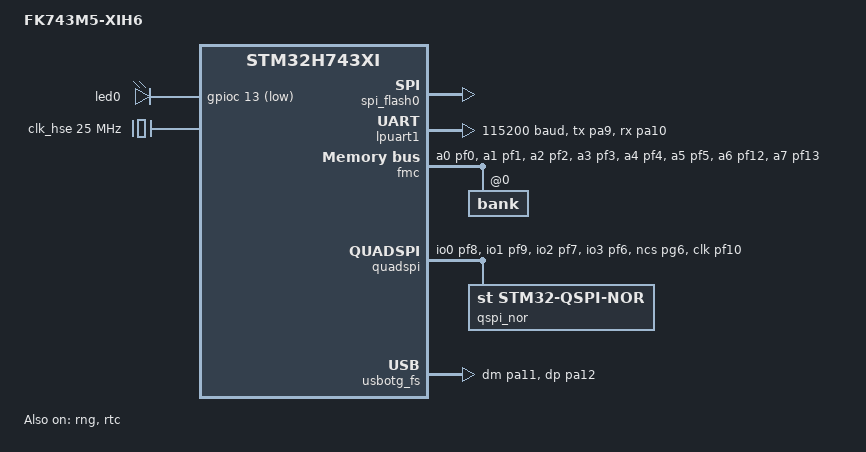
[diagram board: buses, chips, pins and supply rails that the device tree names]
/*
 * Copyright (c) 2025 Caspar Friedrich <c.s.w.friedrich@gmail.com>
 *
 * SPDX-License-Identifier: Apache-2.0
 */

/dts-v1/;

#include <st/h7/stm32h743Xi.dtsi>
#include <st/h7/stm32h743xihx-pinctrl.dtsi>

/ {
	model = "FK743M5-XIH6";
	compatible = "others,fk743m5-xih6";

	chosen {
		zephyr,code-partition = &slot0_partition;
		zephyr,console = &lpuart1;
		zephyr,dtcm = &dtcm;
		zephyr,flash = &flash0;
		zephyr,itcm = &itcm;
		zephyr,shell-uart = &lpuart1;
		zephyr,sram = &sram0;
		zephyr,uart-mcumgr = &lpuart1;
	};

	gpio_leds {
		compatible = "gpio-leds";

		led0: led {
			gpios = <&gpioc 13 GPIO_ACTIVE_LOW>;
		};
	};

	sdram1: sdram@c0000000 {
		compatible = "zephyr,memory-region", "mmio-sram";
		device_type = "memory";
		reg = <0xc0000000 DT_SIZE_M(32)>;
		zephyr,memory-region = "SDRAM1";
	};

	spi_flash0: memory@90000000 {
		compatible = "zephyr,memory-region";
		reg = <0x90000000 DT_SIZE_M(8)>;
		zephyr,memory-region = "EXTMEM";
	};

	aliases {
		led0 = &led0;
		spi-flash0 = &spi_flash0;
	};
};

&clk_hse {
	status = "okay";
	clock-frequency = <DT_FREQ_M(25)>;
};

&clk_lse {
	status = "okay";
};

&pll {
	status = "okay";
	clocks = <&clk_hse>;
	div-m = <5>;
	mul-n = <192>;
	div-p = <2>; /* 480 MHz */
	div-q = <8>; /* 120 MHz -> RNG, SDMMC1 */
	div-r = <2>; /* 480 MHz */
};

&pll3 {
	status = "okay";
	clocks = <&clk_hse>;
	div-m = <5>;
	mul-n = <192>;
	div-p = <2>;  /* 480 MHz */
	div-q = <20>; /*  48 MHz -> USB */
	div-r = <8>;  /* 120 MHz -> LTDC */
};

&rcc {
	status = "okay";
	clocks = <&pll>;
	clock-frequency = <DT_FREQ_M(480)>;
	d1cpre  = <1>; /* 480 MHz */
	hpre    = <2>; /* 240 MHz */
	d1ppre  = <2>; /* 120 MHz */
	d2ppre1 = <2>; /* 120 MHz */
	d2ppre2 = <2>; /* 120 MHz */
	d3ppre  = <2>; /* 120 MHz */
};

&rng {
	status = "okay";
	clocks = <&rcc STM32_CLOCK(AHB2, 6U)>,
	         <&rcc STM32_SRC_PLL1_Q RNG_SEL(1)>;
};

&rtc {
	status = "okay";
	clocks = <&rcc STM32_CLOCK(APB4, 16U)>,
	         <&rcc STM32_SRC_LSE RTC_SEL(1)>;
};

&lpuart1 {
	status = "okay";
	pinctrl-0 = <&lpuart1_tx_pa9
	             &lpuart1_rx_pa10>;
	pinctrl-names = "default";
	current-speed = <115200>;
};

/*
 * Transmit Only Master
 */
&spi5 {
	status = "disabled";
	pinctrl-0 = <&spi5_sck_pk0
	             &spi5_mosi_pj10
	             &spi5_nss_ph5>;
	pinctrl-names = "default";

	/*
	 * LCD1
	 * cmd-data-gpios = <&gpioj 11 GPIO_ACTIVE_LOW>;
	 */
};

&fmc {
	status = "okay";
	pinctrl-0 = <&fmc_a0_pf0
	             &fmc_a1_pf1
	             &fmc_a2_pf2
	             &fmc_a3_pf3
	             &fmc_a4_pf4
	             &fmc_a5_pf5
	             &fmc_a6_pf12
	             &fmc_a7_pf13
	             &fmc_a8_pf14
	             &fmc_a9_pf15
	             &fmc_a10_pg0
	             &fmc_a11_pg1
	             &fmc_a12_pg2
	             &fmc_a14_pg4 /* BA0 */
	             &fmc_a15_pg5 /* BA1 */
	             &fmc_d0_pd14
	             &fmc_d1_pd15
	             &fmc_d2_pd0
	             &fmc_d3_pd1
	             &fmc_d4_pe7
	             &fmc_d5_pe8
	             &fmc_d6_pe9
	             &fmc_d7_pe10
	             &fmc_d8_pe11
	             &fmc_d9_pe12
	             &fmc_d10_pe13
	             &fmc_d11_pe14
	             &fmc_d12_pe15
	             &fmc_d13_pd8
	             &fmc_d14_pd9
	             &fmc_d15_pd10
	             &fmc_nbl0_pe0
	             &fmc_nbl1_pe1
	             &fmc_sdcke0_ph2
	             &fmc_sdclk_pg8
	             &fmc_sdncas_pg15
	             &fmc_sdne0_ph3
	             &fmc_sdnras_pf11
	             &fmc_sdnwe_pc0>;
	pinctrl-names = "default";

	sdram {
		status = "okay";
		mode-register = <0x220>;
		num-auto-refresh = <8>; // default
		power-up-delay = <100>; // default
		refresh-rate = <603>;

		bank@0 {
			reg = <0>;
			st,sdram-control = <STM32_FMC_SDRAM_NC_9
			                    STM32_FMC_SDRAM_NR_13
			                    STM32_FMC_SDRAM_MWID_16
			                    STM32_FMC_SDRAM_NB_4
			                    STM32_FMC_SDRAM_CAS_2
			                    STM32_FMC_SDRAM_SDCLK_PERIOD_2
			                    STM32_FMC_SDRAM_RBURST_ENABLE
			                    STM32_FMC_SDRAM_RPIPE_0>;
			st,sdram-timing = <2 6 4 6 2 2 2>;
		};
	};
};

&quadspi {
	status = "okay";
	pinctrl-0 = <&quadspi_bk1_io0_pf8
	             &quadspi_bk1_io1_pf9
	             &quadspi_bk1_io2_pf7
	             &quadspi_bk1_io3_pf6
	             &quadspi_bk1_ncs_pg6
	             &quadspi_clk_pf10>;
	pinctrl-names = "default";

	qspi_nor@90000000 {
		compatible = "st,stm32-qspi-nor";
		reg = <0x90000000 DT_SIZE_M(64)>;
		qspi-max-frequency = <DT_FREQ_M(50)>;
	};
};

&sdmmc1 {
	status = "disabled";
	pinctrl-0 = <&sdmmc1_d0_pc8
	             &sdmmc1_d1_pc9
	             &sdmmc1_d2_pc10
	             &sdmmc1_d3_pc11
	             &sdmmc1_ck_pc12
	             &sdmmc1_cmd_pd2>;
	pinctrl-names = "default";
};

/* RGB */
&ltdc {
	pinctrl-0 = <>;
	pinctrl-names = "default";
	bl-ctrl-gpios = <&gpioh 6 GPIO_ACTIVE_LOW>;
	clocks = <&rcc STM32_CLOCK(APB3, 3U)>,
	         <&rcc STM32_SRC_PLL3_R NO_SEL>;
	ext-sdram = <&sdram1>;
};

// TODO: SCCB_SCL-PI8,SCCB_SDA-PI9,CAMERA PWDN-PH13
// camera0: &dcmi {};

zephyr_udc0: &usbotg_fs {
	status = "okay";
	pinctrl-0 = <&usb_otg_fs_dm_pa11
	             &usb_otg_fs_dp_pa12>;
	pinctrl-names = "default";
	clocks = <&rcc STM32_CLOCK(AHB1, 27U)>,
	         <&rcc STM32_SRC_PLL3_Q USB_SEL(2)>;
};

&flash0 {
	partitions {
		compatible = "fixed-partitions";
		#address-cells = <1>;
		#size-cells = <1>;

		boot_partition: partition@0 {
			label = "mcuboot";
			reg = <0x00000000 DT_SIZE_K(64)>;
			read-only;
		};

		slot0_partition: partition@10000 {
			label = "image-0";
			reg = <0x00010000 DT_SIZE_K(960)>;
		};

		slot1_partition: partition@100000 {
			label = "image-1";
			reg = <0x00100000 DT_SIZE_K(960)>;
		};

		storage_partition: partition@1f0000 {
			label = "storage";
			reg = <0x001f0000 DT_SIZE_K(64)>;
		};
	};
};
